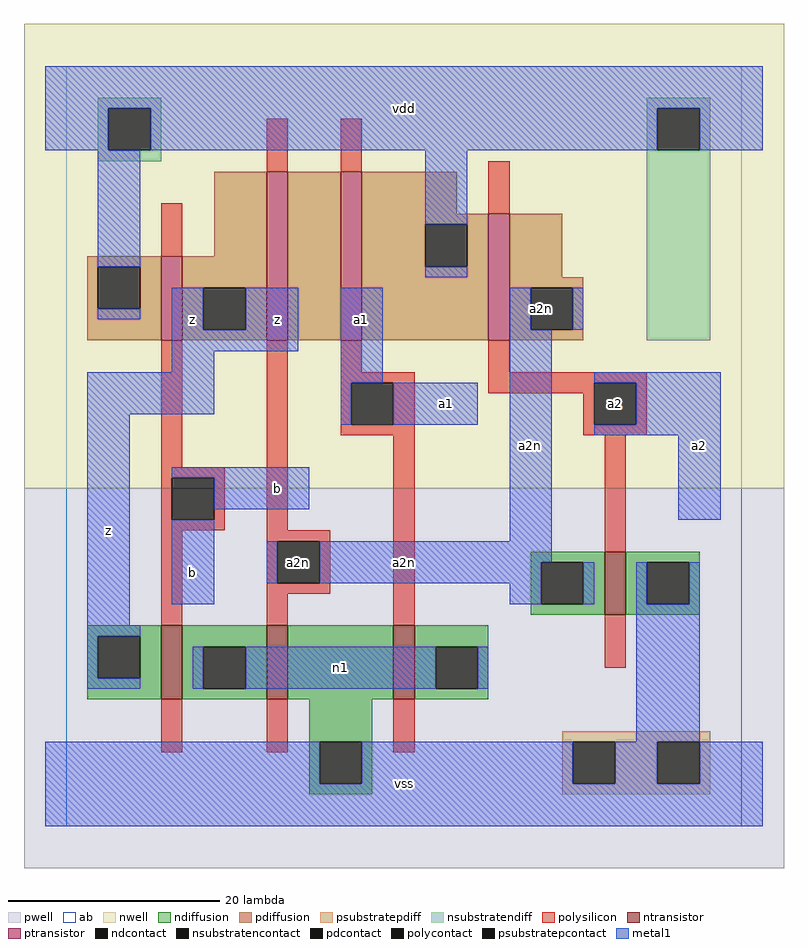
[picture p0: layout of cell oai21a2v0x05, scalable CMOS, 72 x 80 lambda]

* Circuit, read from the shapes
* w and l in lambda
.subckt oai21a2v0x05 a1 a2 a2n b n1 vdd vss z
M1 n1 b z vss nfet w=7 l=2
M2 vss a2n n1 vss nfet w=7 l=2
M3 n1 a1 vss vss nfet w=7 l=2
M4 vss a2 a2n vss nfet w=6 l=2
M5 z b vdd vdd pfet w=8 l=2
M6 n2 a2n z vdd pfet w=16 l=2
M7 vdd a1 n2 vdd pfet w=16 l=2
M8 a2n a2 vdd vdd pfet w=12 l=2
.ends

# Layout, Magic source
magic
tech scmos
<< ab >>
rect 0 0 64 72
<< pwell >>
rect -4 -4 68 32
<< nwell >>
rect -4 32 68 76
<< polysilicon >>
rect 19 62 21 67
rect 26 62 28 67
rect 9 54 11 59
rect 40 58 42 63
rect 9 34 11 46
rect 9 33 15 34
rect 9 29 10 33
rect 14 29 15 33
rect 9 28 15 29
rect 19 28 21 46
rect 26 43 28 46
rect 40 43 42 46
rect 26 42 33 43
rect 26 38 27 42
rect 31 38 33 42
rect 40 42 55 43
rect 40 41 50 42
rect 26 37 33 38
rect 49 38 50 41
rect 54 38 55 42
rect 49 37 55 38
rect 9 19 11 28
rect 19 27 25 28
rect 19 23 20 27
rect 24 23 25 27
rect 19 22 25 23
rect 19 19 21 22
rect 31 19 33 37
rect 51 26 53 37
rect 51 15 53 20
rect 9 7 11 12
rect 19 7 21 12
rect 31 7 33 12
<< ndiffusion >>
rect 44 25 51 26
rect 44 21 45 25
rect 49 21 51 25
rect 44 20 51 21
rect 53 25 60 26
rect 53 21 55 25
rect 59 21 60 25
rect 53 20 60 21
rect 2 18 9 19
rect 2 14 3 18
rect 7 14 9 18
rect 2 12 9 14
rect 11 17 19 19
rect 11 13 13 17
rect 17 13 19 17
rect 11 12 19 13
rect 21 12 31 19
rect 33 17 40 19
rect 33 13 35 17
rect 39 13 40 17
rect 33 12 40 13
rect 23 8 29 12
rect 23 4 24 8
rect 28 4 29 8
rect 23 3 29 4
<< pdiffusion >>
rect 14 54 19 62
rect 2 53 9 54
rect 2 49 3 53
rect 7 49 9 53
rect 2 46 9 49
rect 11 51 19 54
rect 11 47 13 51
rect 17 47 19 51
rect 11 46 19 47
rect 21 46 26 62
rect 28 58 37 62
rect 28 57 40 58
rect 28 53 34 57
rect 38 53 40 57
rect 28 46 40 53
rect 42 52 47 58
rect 42 51 49 52
rect 42 47 44 51
rect 48 47 49 51
rect 42 46 49 47
<< metal1 >>
rect -2 68 66 72
rect -2 64 4 68
rect 8 64 56 68
rect 60 64 66 68
rect 3 53 7 64
rect 34 57 38 64
rect 34 52 38 53
rect 3 48 7 49
rect 10 47 13 51
rect 17 47 22 51
rect 10 45 22 47
rect 10 43 14 45
rect 2 39 14 43
rect 26 42 30 51
rect 42 47 44 51
rect 48 47 49 51
rect 2 19 6 39
rect 26 38 27 42
rect 31 38 39 42
rect 10 33 23 34
rect 14 30 23 33
rect 10 21 14 29
rect 42 27 46 47
rect 50 42 62 43
rect 54 38 62 42
rect 50 37 62 38
rect 58 29 62 37
rect 19 23 20 27
rect 24 25 46 27
rect 24 23 45 25
rect 42 21 45 23
rect 49 21 50 25
rect 54 21 55 25
rect 59 21 60 25
rect 2 18 7 19
rect 2 14 3 18
rect 2 13 7 14
rect 12 13 13 17
rect 17 13 35 17
rect 39 13 40 17
rect 54 8 60 21
rect -2 4 24 8
rect 28 4 48 8
rect 52 4 56 8
rect 60 4 66 8
rect -2 0 66 4
<< ntransistor >>
rect 51 20 53 26
rect 9 12 11 19
rect 19 12 21 19
rect 31 12 33 19
<< ptransistor >>
rect 9 46 11 54
rect 19 46 21 62
rect 26 46 28 62
rect 40 46 42 58
<< polycontact >>
rect 10 29 14 33
rect 27 38 31 42
rect 50 38 54 42
rect 20 23 24 27
<< ndcontact >>
rect 45 21 49 25
rect 55 21 59 25
rect 3 14 7 18
rect 13 13 17 17
rect 35 13 39 17
rect 24 4 28 8
<< pdcontact >>
rect 3 49 7 53
rect 13 47 17 51
rect 34 53 38 57
rect 44 47 48 51
<< psubstratepcontact >>
rect 48 4 52 8
rect 56 4 60 8
<< nsubstratencontact >>
rect 4 64 8 68
rect 56 64 60 68
<< psubstratepdiff >>
rect 47 8 61 9
rect 47 4 48 8
rect 52 4 56 8
rect 60 4 61 8
rect 47 3 61 4
<< nsubstratendiff >>
rect 3 68 9 69
rect 3 64 4 68
rect 8 64 9 68
rect 55 68 61 69
rect 3 63 9 64
rect 55 64 56 68
rect 60 64 61 68
rect 55 46 61 64
<< labels >>
rlabel polycontact 22 25 22 25 6 a2n
rlabel metal1 4 28 4 28 6 z
rlabel metal1 12 24 12 24 6 b
rlabel metal1 12 48 12 48 6 z
rlabel metal1 20 32 20 32 6 b
rlabel metal1 28 48 28 48 6 a1
rlabel metal1 20 48 20 48 6 z
rlabel metal1 32 4 32 4 6 vss
rlabel metal1 26 15 26 15 6 n1
rlabel metal1 32 25 32 25 6 a2n
rlabel metal1 44 36 44 36 6 a2n
rlabel metal1 36 40 36 40 6 a1
rlabel pdcontact 45 49 45 49 6 a2n
rlabel metal1 32 68 32 68 6 vdd
rlabel metal1 60 36 60 36 6 a2
rlabel polycontact 52 40 52 40 6 a2
<< end >>
